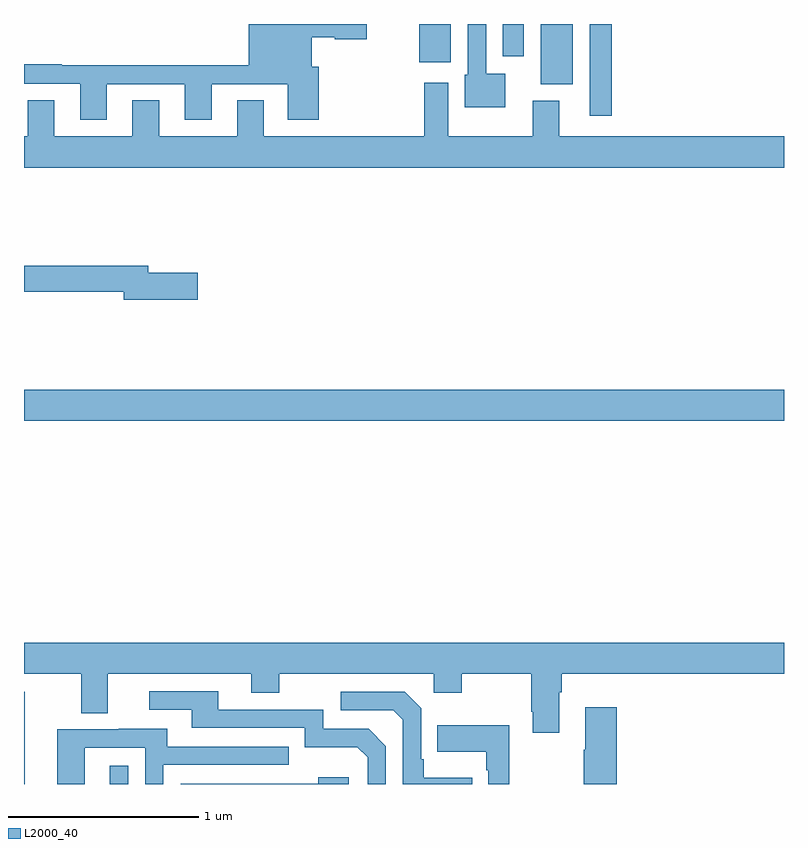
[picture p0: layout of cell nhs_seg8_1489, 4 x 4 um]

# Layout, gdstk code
import gdstk
lib = gdstk.Library(unit=1e-6, precision=1e-09)
def R(c, l, rs):  # rectangles x0, y0, x1, y1
    for r in rs: c.add(gdstk.rectangle(r[:2], r[2:], *l))
def P(c, l, *ps):  # polygons
    for p in ps: c.add(gdstk.Polygon(p, *l))
L2000_40 = (2000, 40)

nhs_seg8_1489 = lib.new_cell('nhs_seg8_1489')
R(nhs_seg8_1489, L2000_40, [(205,1135.9,205.003,1136.385), (205.451,1135.9,205.548,1135.996), (205,1137.812,209,1137.976), (207.978,1139.418,208.094,1139.9), (207.719,1139.582,207.889,1139.9), (207.08,1139.699,207.247,1139.9), (207.521,1139.73,207.631,1139.9)])
P(nhs_seg8_1489, L2000_40, [(207.532,1139.638),(207.432,1139.638),(207.432,1139.9),(207.336,1139.9),(207.336,1139.634),(207.32,1139.634),(207.32,1139.462),(207.532,1139.462)],
  [(205.435,1139.583),(205.847,1139.583),(205.847,1139.397),(205.987,1139.397),(205.987,1139.583),(206.387,1139.583),(206.387,1139.397),(206.552,1139.397),(206.552,1139.676),(206.515,1139.676),(206.515,1139.831),(206.635,1139.831),(206.635,1139.819),(206.803,1139.819),(206.803,1139.9),(206.183,1139.9),(206.183,1139.684),(205.199,1139.684),(205.199,1139.687),(205,1139.687),(205,1139.586),(205.295,1139.586),(205.295,1139.397),(205.435,1139.397)],
  [(209,1139.308),(207.817,1139.308),(207.817,1139.497),(207.677,1139.497),(207.677,1139.308),(207.232,1139.308),(207.232,1139.59),(207.107,1139.59),(207.107,1139.308),(206.263,1139.308),(206.263,1139.498),(206.123,1139.498),(206.123,1139.308),(205.711,1139.308),(205.711,1139.498),(205.571,1139.498),(205.571,1139.308),(205.159,1139.308),(205.159,1139.498),(205.02,1139.498),(205.02,1139.308),(205,1139.308),(205,1139.144),(209,1139.144)],
  [(205.915,1138.592),(205.654,1138.592),(205.654,1138.628),(205,1138.628),(205,1138.492),(205.526,1138.492),(205.526,1138.45),(205.915,1138.45)],
  [(207.817,1136.384),(207.83,1136.384),(207.83,1136.48),(209,1136.48),(209,1136.644),(205,1136.644),(205,1136.48),(205.301,1136.48),(205.301,1136.272),(205.441,1136.272),(205.441,1136.48),(206.195,1136.48),(206.195,1136.381),(206.343,1136.381),(206.343,1136.48),(207.156,1136.48),(207.156,1136.381),(207.303,1136.381),(207.303,1136.48),(207.67,1136.48),(207.67,1136.281),(207.677,1136.281),(207.677,1136.169),(207.817,1136.169)],
  [(206.904,1136.1),(206.814,1136.19),(206.574,1136.19),(206.574,1136.292),(206.023,1136.292),(206.023,1136.388),(205.659,1136.388),(205.659,1136.292),(205.883,1136.292),(205.883,1136.196),(206.478,1136.196),(206.478,1136.093),(206.755,1136.093),(206.808,1136.04),(206.808,1135.9),(206.904,1135.9)],
  [(207.359,1135.933),(207.103,1135.933),(207.103,1136.029),(207.09,1136.029),(207.09,1136.298),(207.003,1136.385),(206.667,1136.385),(206.667,1136.289),(206.943,1136.289),(206.994,1136.238),(206.994,1135.9),(207.359,1135.9)],
  [(208.121,1136.305),(207.953,1136.305),(207.953,1136.081),(207.946,1136.081),(207.946,1135.9),(208.121,1135.9)],
  [(207.553,1136.209),(207.175,1136.209),(207.175,1136.069),(207.432,1136.069),(207.432,1135.973),(207.444,1135.973),(207.444,1135.9),(207.553,1135.9)],
  [(205.32,1136.091),(205.638,1136.091),(205.638,1135.9),(205.734,1135.9),(205.734,1136.001),(206.393,1136.001),(206.393,1136.097),(205.753,1136.097),(205.753,1136.191),(205.499,1136.191),(205.499,1136.187),(205.175,1136.187),(205.175,1135.9),(205.32,1135.9)],
  [(206.71,1135.936),(206.549,1135.936),(206.549,1135.902),(205.824,1135.902),(205.824,1135.9),(206.71,1135.9)])

lib.write_gds('nhs_seg8_1489.gds')
